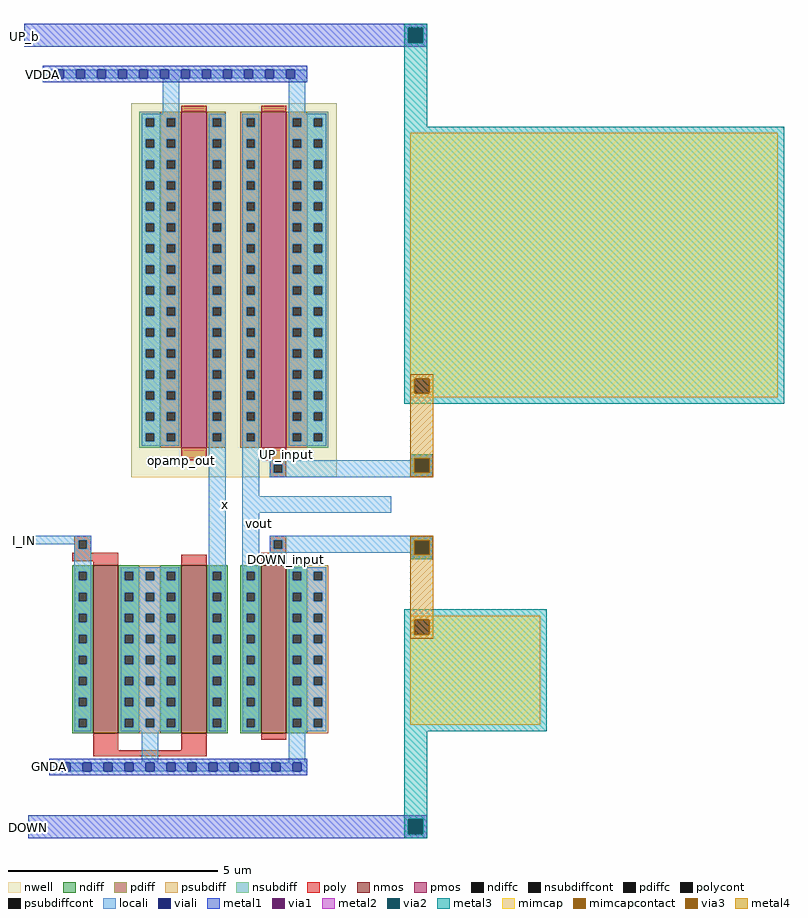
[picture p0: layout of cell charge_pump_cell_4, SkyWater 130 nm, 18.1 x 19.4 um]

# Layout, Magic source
magic
tech sky130A
<< nwell >>
rect 10240 2215 10730 3105
<< nmos >>
rect 10150 1605 10210 2005
rect 10360 1605 10420 2005
rect 10550 1605 10610 2005
<< pmos >>
rect 10360 2285 10420 3085
rect 10550 2285 10610 3085
<< ndiff >>
rect 10100 1990 10150 2005
rect 10100 1970 10115 1990
rect 10135 1970 10150 1990
rect 10100 1940 10150 1970
rect 10100 1920 10115 1940
rect 10135 1920 10150 1940
rect 10100 1890 10150 1920
rect 10100 1870 10115 1890
rect 10135 1870 10150 1890
rect 10100 1840 10150 1870
rect 10100 1820 10115 1840
rect 10135 1820 10150 1840
rect 10100 1790 10150 1820
rect 10100 1770 10115 1790
rect 10135 1770 10150 1790
rect 10100 1740 10150 1770
rect 10100 1720 10115 1740
rect 10135 1720 10150 1740
rect 10100 1690 10150 1720
rect 10100 1670 10115 1690
rect 10135 1670 10150 1690
rect 10100 1640 10150 1670
rect 10100 1620 10115 1640
rect 10135 1620 10150 1640
rect 10100 1605 10150 1620
rect 10210 1990 10260 2005
rect 10310 1990 10360 2005
rect 10210 1970 10225 1990
rect 10245 1970 10260 1990
rect 10310 1970 10325 1990
rect 10345 1970 10360 1990
rect 10210 1940 10260 1970
rect 10310 1940 10360 1970
rect 10210 1920 10225 1940
rect 10245 1920 10260 1940
rect 10310 1920 10325 1940
rect 10345 1920 10360 1940
rect 10210 1890 10260 1920
rect 10310 1890 10360 1920
rect 10210 1870 10225 1890
rect 10245 1870 10260 1890
rect 10310 1870 10325 1890
rect 10345 1870 10360 1890
rect 10210 1840 10260 1870
rect 10310 1840 10360 1870
rect 10210 1820 10225 1840
rect 10245 1820 10260 1840
rect 10310 1820 10325 1840
rect 10345 1820 10360 1840
rect 10210 1790 10260 1820
rect 10310 1790 10360 1820
rect 10210 1770 10225 1790
rect 10245 1770 10260 1790
rect 10310 1770 10325 1790
rect 10345 1770 10360 1790
rect 10210 1740 10260 1770
rect 10310 1740 10360 1770
rect 10210 1720 10225 1740
rect 10245 1720 10260 1740
rect 10310 1720 10325 1740
rect 10345 1720 10360 1740
rect 10210 1690 10260 1720
rect 10310 1690 10360 1720
rect 10210 1670 10225 1690
rect 10245 1670 10260 1690
rect 10310 1670 10325 1690
rect 10345 1670 10360 1690
rect 10210 1640 10260 1670
rect 10310 1640 10360 1670
rect 10210 1620 10225 1640
rect 10245 1620 10260 1640
rect 10310 1620 10325 1640
rect 10345 1620 10360 1640
rect 10210 1605 10260 1620
rect 10310 1605 10360 1620
rect 10420 1990 10470 2005
rect 10420 1970 10435 1990
rect 10455 1970 10470 1990
rect 10420 1940 10470 1970
rect 10420 1920 10435 1940
rect 10455 1920 10470 1940
rect 10420 1890 10470 1920
rect 10420 1870 10435 1890
rect 10455 1870 10470 1890
rect 10420 1840 10470 1870
rect 10420 1820 10435 1840
rect 10455 1820 10470 1840
rect 10420 1790 10470 1820
rect 10420 1770 10435 1790
rect 10455 1770 10470 1790
rect 10420 1740 10470 1770
rect 10420 1720 10435 1740
rect 10455 1720 10470 1740
rect 10420 1690 10470 1720
rect 10420 1670 10435 1690
rect 10455 1670 10470 1690
rect 10420 1640 10470 1670
rect 10420 1620 10435 1640
rect 10455 1620 10470 1640
rect 10420 1605 10470 1620
rect 10500 1990 10550 2005
rect 10500 1970 10515 1990
rect 10535 1970 10550 1990
rect 10500 1940 10550 1970
rect 10500 1920 10515 1940
rect 10535 1920 10550 1940
rect 10500 1890 10550 1920
rect 10500 1870 10515 1890
rect 10535 1870 10550 1890
rect 10500 1840 10550 1870
rect 10500 1820 10515 1840
rect 10535 1820 10550 1840
rect 10500 1790 10550 1820
rect 10500 1770 10515 1790
rect 10535 1770 10550 1790
rect 10500 1740 10550 1770
rect 10500 1720 10515 1740
rect 10535 1720 10550 1740
rect 10500 1690 10550 1720
rect 10500 1670 10515 1690
rect 10535 1670 10550 1690
rect 10500 1640 10550 1670
rect 10500 1620 10515 1640
rect 10535 1620 10550 1640
rect 10500 1605 10550 1620
rect 10610 1990 10660 2005
rect 10610 1970 10625 1990
rect 10645 1970 10660 1990
rect 10610 1940 10660 1970
rect 10610 1920 10625 1940
rect 10645 1920 10660 1940
rect 10610 1890 10660 1920
rect 10610 1870 10625 1890
rect 10645 1870 10660 1890
rect 10610 1840 10660 1870
rect 10610 1820 10625 1840
rect 10645 1820 10660 1840
rect 10610 1790 10660 1820
rect 10610 1770 10625 1790
rect 10645 1770 10660 1790
rect 10610 1740 10660 1770
rect 10610 1720 10625 1740
rect 10645 1720 10660 1740
rect 10610 1690 10660 1720
rect 10610 1670 10625 1690
rect 10645 1670 10660 1690
rect 10610 1640 10660 1670
rect 10610 1620 10625 1640
rect 10645 1620 10660 1640
rect 10610 1605 10660 1620
<< pdiff >>
rect 10310 3070 10360 3085
rect 10310 3050 10325 3070
rect 10345 3050 10360 3070
rect 10310 3020 10360 3050
rect 10310 3000 10325 3020
rect 10345 3000 10360 3020
rect 10310 2970 10360 3000
rect 10310 2950 10325 2970
rect 10345 2950 10360 2970
rect 10310 2920 10360 2950
rect 10310 2900 10325 2920
rect 10345 2900 10360 2920
rect 10310 2870 10360 2900
rect 10310 2850 10325 2870
rect 10345 2850 10360 2870
rect 10310 2820 10360 2850
rect 10310 2800 10325 2820
rect 10345 2800 10360 2820
rect 10310 2770 10360 2800
rect 10310 2750 10325 2770
rect 10345 2750 10360 2770
rect 10310 2720 10360 2750
rect 10310 2700 10325 2720
rect 10345 2700 10360 2720
rect 10310 2670 10360 2700
rect 10310 2650 10325 2670
rect 10345 2650 10360 2670
rect 10310 2620 10360 2650
rect 10310 2600 10325 2620
rect 10345 2600 10360 2620
rect 10310 2570 10360 2600
rect 10310 2550 10325 2570
rect 10345 2550 10360 2570
rect 10310 2520 10360 2550
rect 10310 2500 10325 2520
rect 10345 2500 10360 2520
rect 10310 2470 10360 2500
rect 10310 2450 10325 2470
rect 10345 2450 10360 2470
rect 10310 2420 10360 2450
rect 10310 2400 10325 2420
rect 10345 2400 10360 2420
rect 10310 2370 10360 2400
rect 10310 2350 10325 2370
rect 10345 2350 10360 2370
rect 10310 2320 10360 2350
rect 10310 2300 10325 2320
rect 10345 2300 10360 2320
rect 10310 2285 10360 2300
rect 10420 3070 10465 3085
rect 10420 3050 10435 3070
rect 10455 3050 10465 3070
rect 10420 3020 10465 3050
rect 10420 3000 10435 3020
rect 10455 3000 10465 3020
rect 10420 2970 10465 3000
rect 10420 2950 10435 2970
rect 10455 2950 10465 2970
rect 10420 2920 10465 2950
rect 10420 2900 10435 2920
rect 10455 2900 10465 2920
rect 10420 2870 10465 2900
rect 10420 2850 10435 2870
rect 10455 2850 10465 2870
rect 10420 2820 10465 2850
rect 10420 2800 10435 2820
rect 10455 2800 10465 2820
rect 10420 2770 10465 2800
rect 10420 2750 10435 2770
rect 10455 2750 10465 2770
rect 10420 2720 10465 2750
rect 10420 2700 10435 2720
rect 10455 2700 10465 2720
rect 10420 2670 10465 2700
rect 10420 2650 10435 2670
rect 10455 2650 10465 2670
rect 10420 2620 10465 2650
rect 10420 2600 10435 2620
rect 10455 2600 10465 2620
rect 10420 2570 10465 2600
rect 10420 2550 10435 2570
rect 10455 2550 10465 2570
rect 10420 2520 10465 2550
rect 10420 2500 10435 2520
rect 10455 2500 10465 2520
rect 10420 2470 10465 2500
rect 10420 2450 10435 2470
rect 10455 2450 10465 2470
rect 10420 2420 10465 2450
rect 10420 2400 10435 2420
rect 10455 2400 10465 2420
rect 10420 2370 10465 2400
rect 10420 2350 10435 2370
rect 10455 2350 10465 2370
rect 10420 2320 10465 2350
rect 10420 2300 10435 2320
rect 10455 2300 10465 2320
rect 10420 2285 10465 2300
rect 10500 3070 10550 3085
rect 10500 3050 10515 3070
rect 10535 3050 10550 3070
rect 10500 3020 10550 3050
rect 10500 3000 10515 3020
rect 10535 3000 10550 3020
rect 10500 2970 10550 3000
rect 10500 2950 10515 2970
rect 10535 2950 10550 2970
rect 10500 2920 10550 2950
rect 10500 2900 10515 2920
rect 10535 2900 10550 2920
rect 10500 2870 10550 2900
rect 10500 2850 10515 2870
rect 10535 2850 10550 2870
rect 10500 2820 10550 2850
rect 10500 2800 10515 2820
rect 10535 2800 10550 2820
rect 10500 2770 10550 2800
rect 10500 2750 10515 2770
rect 10535 2750 10550 2770
rect 10500 2720 10550 2750
rect 10500 2700 10515 2720
rect 10535 2700 10550 2720
rect 10500 2670 10550 2700
rect 10500 2650 10515 2670
rect 10535 2650 10550 2670
rect 10500 2620 10550 2650
rect 10500 2600 10515 2620
rect 10535 2600 10550 2620
rect 10500 2570 10550 2600
rect 10500 2550 10515 2570
rect 10535 2550 10550 2570
rect 10500 2520 10550 2550
rect 10500 2500 10515 2520
rect 10535 2500 10550 2520
rect 10500 2470 10550 2500
rect 10500 2450 10515 2470
rect 10535 2450 10550 2470
rect 10500 2420 10550 2450
rect 10500 2400 10515 2420
rect 10535 2400 10550 2420
rect 10500 2370 10550 2400
rect 10500 2350 10515 2370
rect 10535 2350 10550 2370
rect 10500 2320 10550 2350
rect 10500 2300 10515 2320
rect 10535 2300 10550 2320
rect 10500 2285 10550 2300
rect 10610 3070 10660 3085
rect 10610 3050 10625 3070
rect 10645 3050 10660 3070
rect 10610 3020 10660 3050
rect 10610 3000 10625 3020
rect 10645 3000 10660 3020
rect 10610 2970 10660 3000
rect 10610 2950 10625 2970
rect 10645 2950 10660 2970
rect 10610 2920 10660 2950
rect 10610 2900 10625 2920
rect 10645 2900 10660 2920
rect 10610 2870 10660 2900
rect 10610 2850 10625 2870
rect 10645 2850 10660 2870
rect 10610 2820 10660 2850
rect 10610 2800 10625 2820
rect 10645 2800 10660 2820
rect 10610 2770 10660 2800
rect 10610 2750 10625 2770
rect 10645 2750 10660 2770
rect 10610 2720 10660 2750
rect 10610 2700 10625 2720
rect 10645 2700 10660 2720
rect 10610 2670 10660 2700
rect 10610 2650 10625 2670
rect 10645 2650 10660 2670
rect 10610 2620 10660 2650
rect 10610 2600 10625 2620
rect 10645 2600 10660 2620
rect 10610 2570 10660 2600
rect 10610 2550 10625 2570
rect 10645 2550 10660 2570
rect 10610 2520 10660 2550
rect 10610 2500 10625 2520
rect 10645 2500 10660 2520
rect 10610 2470 10660 2500
rect 10610 2450 10625 2470
rect 10645 2450 10660 2470
rect 10610 2420 10660 2450
rect 10610 2400 10625 2420
rect 10645 2400 10660 2420
rect 10610 2370 10660 2400
rect 10610 2350 10625 2370
rect 10645 2350 10660 2370
rect 10610 2320 10660 2350
rect 10610 2300 10625 2320
rect 10645 2300 10660 2320
rect 10610 2285 10660 2300
<< ndiffc >>
rect 10115 1970 10135 1990
rect 10115 1920 10135 1940
rect 10115 1870 10135 1890
rect 10115 1820 10135 1840
rect 10115 1770 10135 1790
rect 10115 1720 10135 1740
rect 10115 1670 10135 1690
rect 10115 1620 10135 1640
rect 10225 1970 10245 1990
rect 10325 1970 10345 1990
rect 10225 1920 10245 1940
rect 10325 1920 10345 1940
rect 10225 1870 10245 1890
rect 10325 1870 10345 1890
rect 10225 1820 10245 1840
rect 10325 1820 10345 1840
rect 10225 1770 10245 1790
rect 10325 1770 10345 1790
rect 10225 1720 10245 1740
rect 10325 1720 10345 1740
rect 10225 1670 10245 1690
rect 10325 1670 10345 1690
rect 10225 1620 10245 1640
rect 10325 1620 10345 1640
rect 10435 1970 10455 1990
rect 10435 1920 10455 1940
rect 10435 1870 10455 1890
rect 10435 1820 10455 1840
rect 10435 1770 10455 1790
rect 10435 1720 10455 1740
rect 10435 1670 10455 1690
rect 10435 1620 10455 1640
rect 10515 1970 10535 1990
rect 10515 1920 10535 1940
rect 10515 1870 10535 1890
rect 10515 1820 10535 1840
rect 10515 1770 10535 1790
rect 10515 1720 10535 1740
rect 10515 1670 10535 1690
rect 10515 1620 10535 1640
rect 10625 1970 10645 1990
rect 10625 1920 10645 1940
rect 10625 1870 10645 1890
rect 10625 1820 10645 1840
rect 10625 1770 10645 1790
rect 10625 1720 10645 1740
rect 10625 1670 10645 1690
rect 10625 1620 10645 1640
<< pdiffc >>
rect 10325 3050 10345 3070
rect 10325 3000 10345 3020
rect 10325 2950 10345 2970
rect 10325 2900 10345 2920
rect 10325 2850 10345 2870
rect 10325 2800 10345 2820
rect 10325 2750 10345 2770
rect 10325 2700 10345 2720
rect 10325 2650 10345 2670
rect 10325 2600 10345 2620
rect 10325 2550 10345 2570
rect 10325 2500 10345 2520
rect 10325 2450 10345 2470
rect 10325 2400 10345 2420
rect 10325 2350 10345 2370
rect 10325 2300 10345 2320
rect 10435 3050 10455 3070
rect 10435 3000 10455 3020
rect 10435 2950 10455 2970
rect 10435 2900 10455 2920
rect 10435 2850 10455 2870
rect 10435 2800 10455 2820
rect 10435 2750 10455 2770
rect 10435 2700 10455 2720
rect 10435 2650 10455 2670
rect 10435 2600 10455 2620
rect 10435 2550 10455 2570
rect 10435 2500 10455 2520
rect 10435 2450 10455 2470
rect 10435 2400 10455 2420
rect 10435 2350 10455 2370
rect 10435 2300 10455 2320
rect 10515 3050 10535 3070
rect 10515 3000 10535 3020
rect 10515 2950 10535 2970
rect 10515 2900 10535 2920
rect 10515 2850 10535 2870
rect 10515 2800 10535 2820
rect 10515 2750 10535 2770
rect 10515 2700 10535 2720
rect 10515 2650 10535 2670
rect 10515 2600 10535 2620
rect 10515 2550 10535 2570
rect 10515 2500 10535 2520
rect 10515 2450 10535 2470
rect 10515 2400 10535 2420
rect 10515 2350 10535 2370
rect 10515 2300 10535 2320
rect 10625 3050 10645 3070
rect 10625 3000 10645 3020
rect 10625 2950 10645 2970
rect 10625 2900 10645 2920
rect 10625 2850 10645 2870
rect 10625 2800 10645 2820
rect 10625 2750 10645 2770
rect 10625 2700 10645 2720
rect 10625 2650 10645 2670
rect 10625 2600 10645 2620
rect 10625 2550 10645 2570
rect 10625 2500 10645 2520
rect 10625 2450 10645 2470
rect 10625 2400 10645 2420
rect 10625 2350 10645 2370
rect 10625 2300 10645 2320
<< psubdiff >>
rect 10260 1990 10310 2005
rect 10260 1970 10275 1990
rect 10295 1970 10310 1990
rect 10260 1940 10310 1970
rect 10260 1920 10275 1940
rect 10295 1920 10310 1940
rect 10260 1890 10310 1920
rect 10260 1870 10275 1890
rect 10295 1870 10310 1890
rect 10260 1840 10310 1870
rect 10260 1820 10275 1840
rect 10295 1820 10310 1840
rect 10260 1790 10310 1820
rect 10260 1770 10275 1790
rect 10295 1770 10310 1790
rect 10260 1740 10310 1770
rect 10260 1720 10275 1740
rect 10295 1720 10310 1740
rect 10260 1690 10310 1720
rect 10260 1670 10275 1690
rect 10295 1670 10310 1690
rect 10260 1640 10310 1670
rect 10260 1620 10275 1640
rect 10295 1620 10310 1640
rect 10260 1605 10310 1620
rect 10660 1990 10710 2005
rect 10660 1970 10675 1990
rect 10695 1970 10710 1990
rect 10660 1940 10710 1970
rect 10660 1920 10675 1940
rect 10695 1920 10710 1940
rect 10660 1890 10710 1920
rect 10660 1870 10675 1890
rect 10695 1870 10710 1890
rect 10660 1840 10710 1870
rect 10660 1820 10675 1840
rect 10695 1820 10710 1840
rect 10660 1790 10710 1820
rect 10660 1770 10675 1790
rect 10695 1770 10710 1790
rect 10660 1740 10710 1770
rect 10660 1720 10675 1740
rect 10695 1720 10710 1740
rect 10660 1690 10710 1720
rect 10660 1670 10675 1690
rect 10695 1670 10710 1690
rect 10660 1640 10710 1670
rect 10660 1620 10675 1640
rect 10695 1620 10710 1640
rect 10660 1605 10710 1620
<< nsubdiff >>
rect 10260 3070 10310 3085
rect 10260 3050 10275 3070
rect 10295 3050 10310 3070
rect 10260 3020 10310 3050
rect 10260 3000 10275 3020
rect 10295 3000 10310 3020
rect 10260 2970 10310 3000
rect 10260 2950 10275 2970
rect 10295 2950 10310 2970
rect 10260 2920 10310 2950
rect 10260 2900 10275 2920
rect 10295 2900 10310 2920
rect 10260 2870 10310 2900
rect 10260 2850 10275 2870
rect 10295 2850 10310 2870
rect 10260 2820 10310 2850
rect 10260 2800 10275 2820
rect 10295 2800 10310 2820
rect 10260 2770 10310 2800
rect 10260 2750 10275 2770
rect 10295 2750 10310 2770
rect 10260 2720 10310 2750
rect 10260 2700 10275 2720
rect 10295 2700 10310 2720
rect 10260 2670 10310 2700
rect 10260 2650 10275 2670
rect 10295 2650 10310 2670
rect 10260 2620 10310 2650
rect 10260 2600 10275 2620
rect 10295 2600 10310 2620
rect 10260 2570 10310 2600
rect 10260 2550 10275 2570
rect 10295 2550 10310 2570
rect 10260 2520 10310 2550
rect 10260 2500 10275 2520
rect 10295 2500 10310 2520
rect 10260 2470 10310 2500
rect 10260 2450 10275 2470
rect 10295 2450 10310 2470
rect 10260 2420 10310 2450
rect 10260 2400 10275 2420
rect 10295 2400 10310 2420
rect 10260 2370 10310 2400
rect 10260 2350 10275 2370
rect 10295 2350 10310 2370
rect 10260 2320 10310 2350
rect 10260 2300 10275 2320
rect 10295 2300 10310 2320
rect 10260 2285 10310 2300
rect 10660 3070 10710 3085
rect 10660 3050 10675 3070
rect 10695 3050 10710 3070
rect 10660 3020 10710 3050
rect 10660 3000 10675 3020
rect 10695 3000 10710 3020
rect 10660 2970 10710 3000
rect 10660 2950 10675 2970
rect 10695 2950 10710 2970
rect 10660 2920 10710 2950
rect 10660 2900 10675 2920
rect 10695 2900 10710 2920
rect 10660 2870 10710 2900
rect 10660 2850 10675 2870
rect 10695 2850 10710 2870
rect 10660 2820 10710 2850
rect 10660 2800 10675 2820
rect 10695 2800 10710 2820
rect 10660 2770 10710 2800
rect 10660 2750 10675 2770
rect 10695 2750 10710 2770
rect 10660 2720 10710 2750
rect 10660 2700 10675 2720
rect 10695 2700 10710 2720
rect 10660 2670 10710 2700
rect 10660 2650 10675 2670
rect 10695 2650 10710 2670
rect 10660 2620 10710 2650
rect 10660 2600 10675 2620
rect 10695 2600 10710 2620
rect 10660 2570 10710 2600
rect 10660 2550 10675 2570
rect 10695 2550 10710 2570
rect 10660 2520 10710 2550
rect 10660 2500 10675 2520
rect 10695 2500 10710 2520
rect 10660 2470 10710 2500
rect 10660 2450 10675 2470
rect 10695 2450 10710 2470
rect 10660 2420 10710 2450
rect 10660 2400 10675 2420
rect 10695 2400 10710 2420
rect 10660 2370 10710 2400
rect 10660 2350 10675 2370
rect 10695 2350 10710 2370
rect 10660 2320 10710 2350
rect 10660 2300 10675 2320
rect 10695 2300 10710 2320
rect 10660 2285 10710 2300
<< psubdiffcont >>
rect 10275 1970 10295 1990
rect 10275 1920 10295 1940
rect 10275 1870 10295 1890
rect 10275 1820 10295 1840
rect 10275 1770 10295 1790
rect 10275 1720 10295 1740
rect 10275 1670 10295 1690
rect 10275 1620 10295 1640
rect 10675 1970 10695 1990
rect 10675 1920 10695 1940
rect 10675 1870 10695 1890
rect 10675 1820 10695 1840
rect 10675 1770 10695 1790
rect 10675 1720 10695 1740
rect 10675 1670 10695 1690
rect 10675 1620 10695 1640
<< nsubdiffcont >>
rect 10275 3050 10295 3070
rect 10275 3000 10295 3020
rect 10275 2950 10295 2970
rect 10275 2900 10295 2920
rect 10275 2850 10295 2870
rect 10275 2800 10295 2820
rect 10275 2750 10295 2770
rect 10275 2700 10295 2720
rect 10275 2650 10295 2670
rect 10275 2600 10295 2620
rect 10275 2550 10295 2570
rect 10275 2500 10295 2520
rect 10275 2450 10295 2470
rect 10275 2400 10295 2420
rect 10275 2350 10295 2370
rect 10275 2300 10295 2320
rect 10675 3050 10695 3070
rect 10675 3000 10695 3020
rect 10675 2950 10695 2970
rect 10675 2900 10695 2920
rect 10675 2850 10695 2870
rect 10675 2800 10695 2820
rect 10675 2750 10695 2770
rect 10675 2700 10695 2720
rect 10675 2650 10695 2670
rect 10675 2600 10695 2620
rect 10675 2550 10695 2570
rect 10675 2500 10695 2520
rect 10675 2450 10695 2470
rect 10675 2400 10695 2420
rect 10675 2350 10695 2370
rect 10675 2300 10695 2320
<< poly >>
rect 10360 3085 10420 3100
rect 10550 3085 10610 3100
rect 10360 2255 10420 2285
rect 10550 2255 10610 2285
rect 10570 2245 10610 2255
rect 10570 2225 10580 2245
rect 10600 2225 10610 2245
rect 10570 2215 10610 2225
rect 10105 2065 10145 2075
rect 10105 2045 10115 2065
rect 10135 2045 10145 2065
rect 10105 2035 10145 2045
rect 10570 2065 10610 2075
rect 10570 2045 10580 2065
rect 10600 2045 10610 2065
rect 10570 2035 10610 2045
rect 10100 2015 10210 2035
rect 10150 2005 10210 2015
rect 10360 2005 10420 2030
rect 10550 2005 10610 2035
rect 10150 1565 10210 1605
rect 10360 1565 10420 1605
rect 10550 1590 10610 1605
rect 10150 1550 10420 1565
<< polycont >>
rect 10580 2225 10600 2245
rect 10115 2045 10135 2065
rect 10580 2045 10600 2065
<< locali >>
rect 10890 3285 10945 3295
rect 10890 3250 10900 3285
rect 10935 3250 10945 3285
rect 10890 3240 10945 3250
rect 10030 3165 10060 3185
rect 10080 3165 10110 3185
rect 10130 3165 10160 3185
rect 10180 3165 10210 3185
rect 10230 3165 10260 3185
rect 10280 3165 10310 3185
rect 10330 3165 10360 3185
rect 10380 3165 10410 3185
rect 10430 3165 10460 3185
rect 10480 3165 10510 3185
rect 10530 3165 10560 3185
rect 10580 3165 10610 3185
rect 10630 3165 10660 3185
rect 10315 3080 10355 3165
rect 10615 3080 10655 3165
rect 10265 3070 10355 3080
rect 10265 3050 10275 3070
rect 10295 3050 10325 3070
rect 10345 3050 10355 3070
rect 10265 3020 10355 3050
rect 10265 3000 10275 3020
rect 10295 3000 10325 3020
rect 10345 3000 10355 3020
rect 10265 2970 10355 3000
rect 10265 2950 10275 2970
rect 10295 2950 10325 2970
rect 10345 2950 10355 2970
rect 10265 2920 10355 2950
rect 10265 2900 10275 2920
rect 10295 2900 10325 2920
rect 10345 2900 10355 2920
rect 10265 2870 10355 2900
rect 10265 2850 10275 2870
rect 10295 2850 10325 2870
rect 10345 2850 10355 2870
rect 10265 2820 10355 2850
rect 10265 2800 10275 2820
rect 10295 2800 10325 2820
rect 10345 2800 10355 2820
rect 10265 2770 10355 2800
rect 10265 2750 10275 2770
rect 10295 2750 10325 2770
rect 10345 2750 10355 2770
rect 10265 2720 10355 2750
rect 10265 2700 10275 2720
rect 10295 2700 10325 2720
rect 10345 2700 10355 2720
rect 10265 2670 10355 2700
rect 10265 2650 10275 2670
rect 10295 2650 10325 2670
rect 10345 2650 10355 2670
rect 10265 2620 10355 2650
rect 10265 2600 10275 2620
rect 10295 2600 10325 2620
rect 10345 2600 10355 2620
rect 10265 2570 10355 2600
rect 10265 2550 10275 2570
rect 10295 2550 10325 2570
rect 10345 2550 10355 2570
rect 10265 2520 10355 2550
rect 10265 2500 10275 2520
rect 10295 2500 10325 2520
rect 10345 2500 10355 2520
rect 10265 2470 10355 2500
rect 10265 2450 10275 2470
rect 10295 2450 10325 2470
rect 10345 2450 10355 2470
rect 10265 2420 10355 2450
rect 10265 2400 10275 2420
rect 10295 2400 10325 2420
rect 10345 2400 10355 2420
rect 10265 2370 10355 2400
rect 10265 2350 10275 2370
rect 10295 2350 10325 2370
rect 10345 2350 10355 2370
rect 10265 2320 10355 2350
rect 10265 2300 10275 2320
rect 10295 2300 10325 2320
rect 10345 2300 10355 2320
rect 10265 2290 10355 2300
rect 10425 3070 10465 3080
rect 10425 3050 10435 3070
rect 10455 3050 10465 3070
rect 10425 3020 10465 3050
rect 10425 3000 10435 3020
rect 10455 3000 10465 3020
rect 10425 2970 10465 3000
rect 10425 2950 10435 2970
rect 10455 2950 10465 2970
rect 10425 2920 10465 2950
rect 10425 2900 10435 2920
rect 10455 2900 10465 2920
rect 10425 2870 10465 2900
rect 10425 2850 10435 2870
rect 10455 2850 10465 2870
rect 10425 2820 10465 2850
rect 10425 2800 10435 2820
rect 10455 2800 10465 2820
rect 10425 2770 10465 2800
rect 10425 2750 10435 2770
rect 10455 2750 10465 2770
rect 10425 2720 10465 2750
rect 10425 2700 10435 2720
rect 10455 2700 10465 2720
rect 10425 2670 10465 2700
rect 10425 2650 10435 2670
rect 10455 2650 10465 2670
rect 10425 2620 10465 2650
rect 10425 2600 10435 2620
rect 10455 2600 10465 2620
rect 10425 2570 10465 2600
rect 10425 2550 10435 2570
rect 10455 2550 10465 2570
rect 10425 2520 10465 2550
rect 10425 2500 10435 2520
rect 10455 2500 10465 2520
rect 10425 2470 10465 2500
rect 10425 2450 10435 2470
rect 10455 2450 10465 2470
rect 10425 2420 10465 2450
rect 10425 2400 10435 2420
rect 10455 2400 10465 2420
rect 10425 2370 10465 2400
rect 10425 2350 10435 2370
rect 10455 2350 10465 2370
rect 10425 2320 10465 2350
rect 10425 2300 10435 2320
rect 10455 2300 10465 2320
rect 9985 2065 10145 2075
rect 9985 2055 10115 2065
rect 10105 2045 10115 2055
rect 10135 2045 10145 2065
rect 10105 1990 10145 2045
rect 10105 1970 10115 1990
rect 10135 1970 10145 1990
rect 10105 1940 10145 1970
rect 10105 1920 10115 1940
rect 10135 1920 10145 1940
rect 10105 1890 10145 1920
rect 10105 1870 10115 1890
rect 10135 1870 10145 1890
rect 10105 1840 10145 1870
rect 10105 1820 10115 1840
rect 10135 1820 10145 1840
rect 10105 1790 10145 1820
rect 10105 1770 10115 1790
rect 10135 1770 10145 1790
rect 10105 1740 10145 1770
rect 10105 1720 10115 1740
rect 10135 1720 10145 1740
rect 10105 1690 10145 1720
rect 10105 1670 10115 1690
rect 10135 1670 10145 1690
rect 10105 1640 10145 1670
rect 10105 1620 10115 1640
rect 10135 1620 10145 1640
rect 10105 1610 10145 1620
rect 10215 1990 10355 2000
rect 10215 1970 10225 1990
rect 10245 1970 10275 1990
rect 10295 1970 10325 1990
rect 10345 1970 10355 1990
rect 10215 1940 10355 1970
rect 10215 1920 10225 1940
rect 10245 1920 10275 1940
rect 10295 1920 10325 1940
rect 10345 1920 10355 1940
rect 10215 1890 10355 1920
rect 10215 1870 10225 1890
rect 10245 1870 10275 1890
rect 10295 1870 10325 1890
rect 10345 1870 10355 1890
rect 10215 1840 10355 1870
rect 10215 1820 10225 1840
rect 10245 1820 10275 1840
rect 10295 1820 10325 1840
rect 10345 1820 10355 1840
rect 10215 1790 10355 1820
rect 10215 1770 10225 1790
rect 10245 1770 10275 1790
rect 10295 1770 10325 1790
rect 10345 1770 10355 1790
rect 10215 1740 10355 1770
rect 10215 1720 10225 1740
rect 10245 1720 10275 1740
rect 10295 1720 10325 1740
rect 10345 1720 10355 1740
rect 10215 1690 10355 1720
rect 10215 1670 10225 1690
rect 10245 1670 10275 1690
rect 10295 1670 10325 1690
rect 10345 1670 10355 1690
rect 10215 1640 10355 1670
rect 10215 1620 10225 1640
rect 10245 1620 10275 1640
rect 10295 1620 10325 1640
rect 10345 1620 10355 1640
rect 10215 1610 10355 1620
rect 10425 1990 10465 2300
rect 10425 1970 10435 1990
rect 10455 1970 10465 1990
rect 10425 1940 10465 1970
rect 10425 1920 10435 1940
rect 10455 1920 10465 1940
rect 10425 1890 10465 1920
rect 10425 1870 10435 1890
rect 10455 1870 10465 1890
rect 10425 1840 10465 1870
rect 10425 1820 10435 1840
rect 10455 1820 10465 1840
rect 10425 1790 10465 1820
rect 10425 1770 10435 1790
rect 10455 1770 10465 1790
rect 10425 1740 10465 1770
rect 10425 1720 10435 1740
rect 10455 1720 10465 1740
rect 10425 1690 10465 1720
rect 10425 1670 10435 1690
rect 10455 1670 10465 1690
rect 10425 1640 10465 1670
rect 10425 1620 10435 1640
rect 10455 1620 10465 1640
rect 10425 1610 10465 1620
rect 10505 3070 10545 3080
rect 10505 3050 10515 3070
rect 10535 3050 10545 3070
rect 10505 3020 10545 3050
rect 10505 3000 10515 3020
rect 10535 3000 10545 3020
rect 10505 2970 10545 3000
rect 10505 2950 10515 2970
rect 10535 2950 10545 2970
rect 10505 2920 10545 2950
rect 10505 2900 10515 2920
rect 10535 2900 10545 2920
rect 10505 2870 10545 2900
rect 10505 2850 10515 2870
rect 10535 2850 10545 2870
rect 10505 2820 10545 2850
rect 10505 2800 10515 2820
rect 10535 2800 10545 2820
rect 10505 2770 10545 2800
rect 10505 2750 10515 2770
rect 10535 2750 10545 2770
rect 10505 2720 10545 2750
rect 10505 2700 10515 2720
rect 10535 2700 10545 2720
rect 10505 2670 10545 2700
rect 10505 2650 10515 2670
rect 10535 2650 10545 2670
rect 10505 2620 10545 2650
rect 10505 2600 10515 2620
rect 10535 2600 10545 2620
rect 10505 2570 10545 2600
rect 10505 2550 10515 2570
rect 10535 2550 10545 2570
rect 10505 2520 10545 2550
rect 10505 2500 10515 2520
rect 10535 2500 10545 2520
rect 10505 2470 10545 2500
rect 10505 2450 10515 2470
rect 10535 2450 10545 2470
rect 10505 2420 10545 2450
rect 10505 2400 10515 2420
rect 10535 2400 10545 2420
rect 10505 2370 10545 2400
rect 10505 2350 10515 2370
rect 10535 2350 10545 2370
rect 10505 2320 10545 2350
rect 10505 2300 10515 2320
rect 10535 2300 10545 2320
rect 10505 2170 10545 2300
rect 10615 3070 10705 3080
rect 10615 3050 10625 3070
rect 10645 3050 10675 3070
rect 10695 3050 10705 3070
rect 10615 3020 10705 3050
rect 10615 3000 10625 3020
rect 10645 3000 10675 3020
rect 10695 3000 10705 3020
rect 10615 2970 10705 3000
rect 10615 2950 10625 2970
rect 10645 2950 10675 2970
rect 10695 2950 10705 2970
rect 10615 2920 10705 2950
rect 10615 2900 10625 2920
rect 10645 2900 10675 2920
rect 10695 2900 10705 2920
rect 10615 2870 10705 2900
rect 10615 2850 10625 2870
rect 10645 2850 10675 2870
rect 10695 2850 10705 2870
rect 10615 2820 10705 2850
rect 10615 2800 10625 2820
rect 10645 2800 10675 2820
rect 10695 2800 10705 2820
rect 10615 2770 10705 2800
rect 10615 2750 10625 2770
rect 10645 2750 10675 2770
rect 10695 2750 10705 2770
rect 10615 2720 10705 2750
rect 10615 2700 10625 2720
rect 10645 2700 10675 2720
rect 10695 2700 10705 2720
rect 10615 2670 10705 2700
rect 10615 2650 10625 2670
rect 10645 2650 10675 2670
rect 10695 2650 10705 2670
rect 10615 2620 10705 2650
rect 10615 2600 10625 2620
rect 10645 2600 10675 2620
rect 10695 2600 10705 2620
rect 10615 2570 10705 2600
rect 10615 2550 10625 2570
rect 10645 2550 10675 2570
rect 10695 2550 10705 2570
rect 10615 2520 10705 2550
rect 10615 2500 10625 2520
rect 10645 2500 10675 2520
rect 10695 2500 10705 2520
rect 10615 2470 10705 2500
rect 10615 2450 10625 2470
rect 10645 2450 10675 2470
rect 10695 2450 10705 2470
rect 10615 2420 10705 2450
rect 10615 2400 10625 2420
rect 10645 2400 10675 2420
rect 10695 2400 10705 2420
rect 10615 2370 10705 2400
rect 10615 2350 10625 2370
rect 10645 2350 10675 2370
rect 10695 2350 10705 2370
rect 10615 2320 10705 2350
rect 10615 2300 10625 2320
rect 10645 2300 10675 2320
rect 10695 2300 10705 2320
rect 10615 2290 10705 2300
rect 10905 2260 10960 2270
rect 10905 2255 10915 2260
rect 10570 2245 10915 2255
rect 10570 2225 10580 2245
rect 10600 2225 10915 2245
rect 10950 2225 10960 2260
rect 10570 2215 10960 2225
rect 10505 2130 10860 2170
rect 10505 1990 10545 2130
rect 10570 2065 10960 2075
rect 10570 2045 10580 2065
rect 10600 2045 10915 2065
rect 10570 2035 10915 2045
rect 10905 2030 10915 2035
rect 10950 2030 10960 2065
rect 10905 2020 10960 2030
rect 10505 1970 10515 1990
rect 10535 1970 10545 1990
rect 10505 1940 10545 1970
rect 10505 1920 10515 1940
rect 10535 1920 10545 1940
rect 10505 1890 10545 1920
rect 10505 1870 10515 1890
rect 10535 1870 10545 1890
rect 10505 1840 10545 1870
rect 10505 1820 10515 1840
rect 10535 1820 10545 1840
rect 10505 1790 10545 1820
rect 10505 1770 10515 1790
rect 10535 1770 10545 1790
rect 10505 1740 10545 1770
rect 10505 1720 10515 1740
rect 10535 1720 10545 1740
rect 10505 1690 10545 1720
rect 10505 1670 10515 1690
rect 10535 1670 10545 1690
rect 10505 1640 10545 1670
rect 10505 1620 10515 1640
rect 10535 1620 10545 1640
rect 10505 1610 10545 1620
rect 10615 1990 10705 2000
rect 10615 1970 10625 1990
rect 10645 1970 10675 1990
rect 10695 1970 10705 1990
rect 10615 1940 10705 1970
rect 10615 1920 10625 1940
rect 10645 1920 10675 1940
rect 10695 1920 10705 1940
rect 10615 1890 10705 1920
rect 10615 1870 10625 1890
rect 10645 1870 10675 1890
rect 10695 1870 10705 1890
rect 10615 1840 10705 1870
rect 10615 1820 10625 1840
rect 10645 1820 10675 1840
rect 10695 1820 10705 1840
rect 10615 1790 10705 1820
rect 10615 1770 10625 1790
rect 10645 1770 10675 1790
rect 10695 1770 10705 1790
rect 10615 1740 10705 1770
rect 10615 1720 10625 1740
rect 10645 1720 10675 1740
rect 10695 1720 10705 1740
rect 10615 1690 10705 1720
rect 10615 1670 10625 1690
rect 10645 1670 10675 1690
rect 10695 1670 10705 1690
rect 10615 1640 10705 1670
rect 10615 1620 10625 1640
rect 10645 1620 10675 1640
rect 10695 1620 10705 1640
rect 10615 1610 10705 1620
rect 10265 1535 10305 1610
rect 10615 1535 10655 1610
rect 10045 1515 10075 1535
rect 10095 1515 10125 1535
rect 10145 1515 10175 1535
rect 10195 1515 10225 1535
rect 10245 1515 10275 1535
rect 10295 1515 10325 1535
rect 10345 1515 10375 1535
rect 10395 1515 10425 1535
rect 10445 1515 10475 1535
rect 10495 1515 10525 1535
rect 10545 1515 10575 1535
rect 10595 1515 10625 1535
rect 10645 1515 10660 1535
rect 10890 1400 10945 1410
rect 10890 1365 10900 1400
rect 10935 1365 10945 1400
rect 10890 1355 10945 1365
<< viali >>
rect 10900 3250 10935 3285
rect 10060 3165 10080 3185
rect 10110 3165 10130 3185
rect 10160 3165 10180 3185
rect 10210 3165 10230 3185
rect 10260 3165 10280 3185
rect 10310 3165 10330 3185
rect 10360 3165 10380 3185
rect 10410 3165 10430 3185
rect 10460 3165 10480 3185
rect 10510 3165 10530 3185
rect 10560 3165 10580 3185
rect 10610 3165 10630 3185
rect 10915 2225 10950 2260
rect 10915 2030 10950 2065
rect 10075 1515 10095 1535
rect 10125 1515 10145 1535
rect 10175 1515 10195 1535
rect 10225 1515 10245 1535
rect 10275 1515 10295 1535
rect 10325 1515 10345 1535
rect 10375 1515 10395 1535
rect 10425 1515 10445 1535
rect 10475 1515 10495 1535
rect 10525 1515 10545 1535
rect 10575 1515 10595 1535
rect 10625 1515 10645 1535
rect 10900 1365 10935 1400
<< metal1 >>
rect 9985 3285 10945 3295
rect 9985 3250 10900 3285
rect 10935 3250 10945 3285
rect 9985 3240 10945 3250
rect 10030 3185 10660 3195
rect 10030 3165 10060 3185
rect 10080 3165 10110 3185
rect 10130 3165 10160 3185
rect 10180 3165 10210 3185
rect 10230 3165 10260 3185
rect 10280 3165 10310 3185
rect 10330 3165 10360 3185
rect 10380 3165 10410 3185
rect 10430 3165 10460 3185
rect 10480 3165 10510 3185
rect 10530 3165 10560 3185
rect 10580 3165 10610 3185
rect 10630 3165 10660 3185
rect 10030 3155 10660 3165
rect 10905 2260 10960 2270
rect 10905 2225 10915 2260
rect 10950 2225 10960 2260
rect 10905 2215 10960 2225
rect 10905 2065 10960 2075
rect 10905 2030 10915 2065
rect 10950 2030 10960 2065
rect 10905 2020 10960 2030
rect 10045 1535 10660 1545
rect 10045 1515 10075 1535
rect 10095 1515 10125 1535
rect 10145 1515 10175 1535
rect 10195 1515 10225 1535
rect 10245 1515 10275 1535
rect 10295 1515 10325 1535
rect 10345 1515 10375 1535
rect 10395 1515 10425 1535
rect 10445 1515 10475 1535
rect 10495 1515 10525 1535
rect 10545 1515 10575 1535
rect 10595 1515 10625 1535
rect 10645 1515 10660 1535
rect 10045 1505 10660 1515
rect 9995 1400 10945 1410
rect 9995 1365 10900 1400
rect 10935 1365 10945 1400
rect 9995 1355 10945 1365
<< via1 >>
rect 10900 3250 10935 3285
rect 10915 2225 10950 2260
rect 10915 2030 10950 2065
rect 10900 1365 10935 1400
<< metal2 >>
rect 10890 3285 10945 3295
rect 10890 3250 10900 3285
rect 10935 3250 10945 3285
rect 10890 3240 10945 3250
rect 10905 2260 10960 2270
rect 10905 2225 10915 2260
rect 10950 2225 10960 2260
rect 10905 2215 10960 2225
rect 10905 2065 10960 2075
rect 10905 2030 10915 2065
rect 10950 2030 10960 2065
rect 10905 2020 10960 2030
rect 10890 1400 10945 1410
rect 10890 1365 10900 1400
rect 10935 1365 10945 1400
rect 10890 1355 10945 1365
<< via2 >>
rect 10900 3250 10935 3285
rect 10915 2225 10950 2260
rect 10915 2030 10950 2065
rect 10900 1365 10935 1400
<< metal3 >>
rect 10890 3285 10945 3295
rect 10890 3250 10900 3285
rect 10935 3250 10945 3285
rect 10890 3050 10945 3250
rect 10890 2390 11795 3050
rect 10905 2260 10960 2270
rect 10905 2225 10915 2260
rect 10950 2225 10960 2260
rect 10905 2215 10960 2225
rect 10905 2065 10960 2075
rect 10905 2030 10915 2065
rect 10950 2030 10960 2065
rect 10905 2020 10960 2030
rect 10890 1610 11230 1900
rect 10890 1400 10945 1610
rect 10890 1365 10900 1400
rect 10935 1365 10945 1400
rect 10890 1355 10945 1365
<< via3 >>
rect 10915 2225 10950 2260
rect 10915 2030 10950 2065
<< mimcap >>
rect 10905 2450 11780 3035
rect 10905 2415 10915 2450
rect 10950 2415 11780 2450
rect 10905 2405 11780 2415
rect 10905 1875 11215 1885
rect 10905 1840 10915 1875
rect 10950 1840 11215 1875
rect 10905 1625 11215 1840
<< mimcapcontact >>
rect 10915 2415 10950 2450
rect 10915 1840 10950 1875
<< metal4 >>
rect 10905 2450 10960 2460
rect 10905 2415 10915 2450
rect 10950 2415 10960 2450
rect 10905 2260 10960 2415
rect 10905 2225 10915 2260
rect 10950 2225 10960 2260
rect 10905 2215 10960 2225
rect 10905 2065 10960 2075
rect 10905 2030 10915 2065
rect 10950 2030 10960 2065
rect 10905 1875 10960 2030
rect 10905 1840 10915 1875
rect 10950 1840 10960 1875
rect 10905 1830 10960 1840
<< labels >>
flabel locali 10545 2105 10545 2105 3 FreeSans 400 0 160 0 vout
port 4 e
flabel poly 10610 2270 10610 2270 3 FreeSans 400 0 200 0 UP_input
port 8 e
flabel locali 10465 2150 10465 2150 3 FreeSans 400 0 200 0 x
port 3 e
flabel poly 10610 2020 10610 2020 3 FreeSans 400 0 200 0 DOWN_input
port 9 e
flabel poly 10360 2255 10360 2255 7 FreeSans 400 0 -200 0 opamp_out
port 10 w
flabel metal1 9995 1380 9995 1380 7 FreeSans 400 0 -200 0 DOWN
port 6 w
flabel metal1 10045 1525 10045 1525 7 FreeSans 400 0 -200 0 GNDA
port 2 w
flabel metal1 10030 3175 10030 3175 7 FreeSans 400 0 -200 0 VDDA
port 1 w
flabel metal1 9985 3265 9985 3265 7 FreeSans 400 0 -200 0 UP_b
port 5 w
flabel locali 9985 2065 9985 2065 7 FreeSans 400 0 -200 0 I_IN
port 7 w
<< end >>
